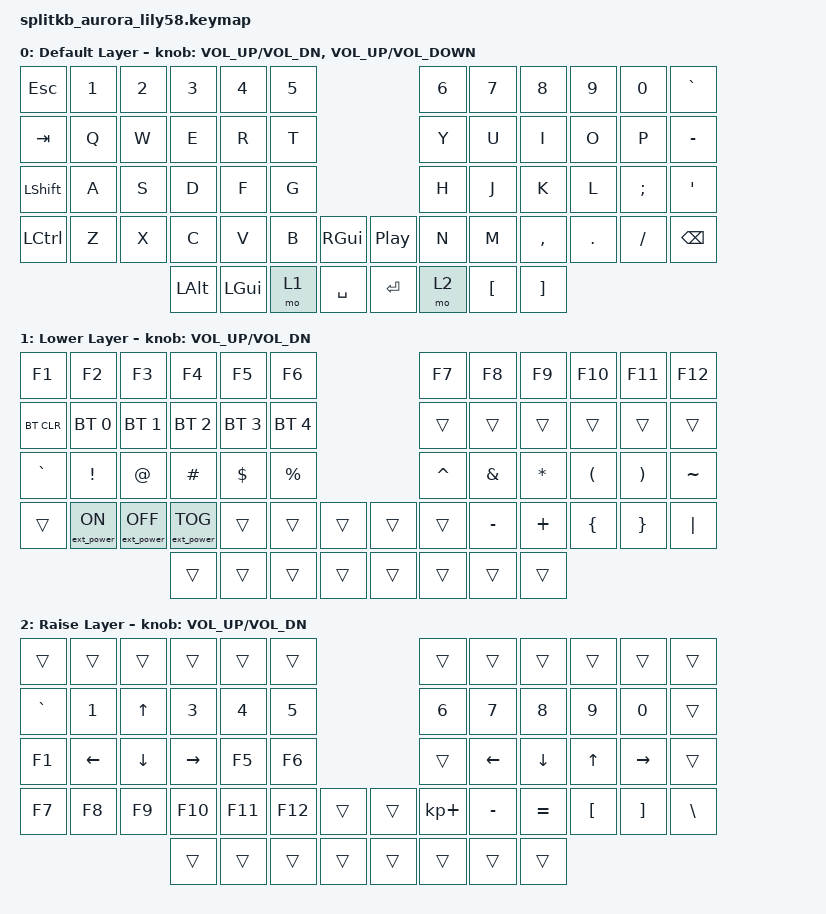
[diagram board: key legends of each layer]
/*
 * Copyright (c) 2022 The ZMK Contributors
 *
 * SPDX-License-Identifier: MIT
 */

#include <behaviors.dtsi>
#include <dt-bindings/zmk/bt.h>
#include <dt-bindings/zmk/ext_power.h>
#include <dt-bindings/zmk/keys.h>

/ {
    keymap {
        compatible = "zmk,keymap";

        default_layer {
            display-name = "Default Layer";

            // ------------------------------------------------------------------------------------------------------------
            // |  ESC  |  1  |  2  |  3   |  4   |  5   |                   |  6   |  7    |  8    |  9   |   0   |   `   |
            // |  TAB  |  Q  |  W  |  E   |  R   |  T   |                   |  Y   |  U    |  I    |  O   |   P   |   -   |
            // |  SHIFT |  A  |  S  |  D   |  F   |  G   |                   |  H   |  J    |  K    |  L   |   ;   |   '   |
            // | CTRL |  Z  |  X  |  C   |  V   |  B   |   GUI |  |  "]"  |  N   |  M    |  ,    |  .   |   /   | BSPC |
            //                     | ALT  | GUI  | LOWER|  SPACE |  | ENTER | RAISE| "["  | "]"  |

            bindings = <
&kp ESC    &kp N1  &kp N2  &kp N3    &kp N4    &kp N5                                     &kp N6  &kp N7            &kp N8             &kp N9   &kp N0    &kp GRAVE
&kp TAB    &kp Q   &kp W   &kp E     &kp R     &kp T                                      &kp Y   &kp U             &kp I              &kp O    &kp P     &kp MINUS
&kp LSHFT  &kp A   &kp S   &kp D     &kp F     &kp G                                      &kp H   &kp J             &kp K              &kp L    &kp SEMI  &kp SQT
&kp LCTRL  &kp Z   &kp X   &kp C     &kp V     &kp B   &kp RIGHT_GUI    &kp C_PLAY_PAUSE  &kp N   &kp M             &kp COMMA          &kp DOT  &kp FSLH  &kp BSPC
                           &kp LALT  &kp LGUI  &mo 1   &kp SPACE        &kp RET           &mo 2   &kp LEFT_BRACKET  &kp RIGHT_BRACKET
            >;

            sensor-bindings =
                <&inc_dec_kp C_VOL_UP C_VOL_DN>,
                <&inc_dec_kp C_VOLUME_UP C_VOLUME_DOWN>;
        };

        lower_layer {
            display-name = "Lower Layer";

            // ------------------------------------------------------------------------------------------------------------
            // | BTCLR | BT1 | BT2 |  BT3 |  BT4 |  BT5 |                   |      |       |       |      |       |       |
            // |  F1   |  F2 |  F3 |  F4  |  F5  |  F6  |                   |  F7  |  F8   |  F9   |  F10 |  F11  |  F12  |
            // |   `   |  !  |  @  |  #   |  $   |  %   |                   |  ^   |  &    |  *    |  (   |   )   |   ~   |
            // |       |     |     |      |      |      |        |  |       |      |  _    |  +    |  {   |   }   |  "|"  |
            //                     |      |      |      |        |  |       |      |       |       |

            bindings = <
&kp F1      &kp F2            &kp F3             &kp F4             &kp F5        &kp F6                          &kp F7     &kp F8     &kp F9    &kp F10   &kp F11   &kp F12
&bt BT_CLR  &bt BT_SEL 0      &bt BT_SEL 1       &bt BT_SEL 2       &bt BT_SEL 3  &bt BT_SEL 4                    &trans     &trans     &trans    &trans    &trans    &trans
&kp GRAVE   &kp EXCL          &kp AT             &kp HASH           &kp DOLLAR    &kp PRCNT                       &kp CARET  &kp AMPS   &kp STAR  &kp LPAR  &kp RPAR  &kp TILDE
&trans      &ext_power EP_ON  &ext_power EP_OFF  &ext_power EP_TOG  &trans        &trans        &trans    &trans  &trans     &kp MINUS  &kp PLUS  &kp LBRC  &kp RBRC  &kp PIPE
                                                 &trans             &trans        &trans        &trans    &trans  &trans     &trans     &trans
            >;

            sensor-bindings = <&inc_dec_kp C_VOL_UP C_VOL_DN>;
        };

        raise_layer {
            display-name = "Raise Layer";

            // ------------------------------------------------------------------------------------------------------------
            // |       |     |     |      |      |      |                   |      |       |       |      |       |       |
            // |   `   |  1  |  2  |  3   |  4   |  5   |                   |  6   |   7   |   8   |  9   |   0   |       |
            // |   F1  |  F2 |  F3 |  F4  |  F5  |  F6  |                   |      |   <-  |   v   |  ^   |  ->   |       |
            // |   F7  |  F8 |  F9 |  F10 |  F11 |  F12 |        |  |       |  +   |   -   |   =   |  [   |   ]   |   \   |
            //                     |      |      |      |        |  |       |      |       |       |

            bindings = <
&trans     &trans          &trans          &trans           &trans   &trans                     &trans       &trans     &trans     &trans    &trans     &trans
&kp GRAVE  &kp N1          &kp UP_ARROW    &kp N3           &kp N4   &kp N5                     &kp N6       &kp N7     &kp N8     &kp N9    &kp N0     &trans
&kp F1     &kp LEFT_ARROW  &kp DOWN_ARROW  &kp RIGHT_ARROW  &kp F5   &kp F6                     &trans       &kp LEFT   &kp DOWN   &kp UP    &kp RIGHT  &trans
&kp F7     &kp F8          &kp F9          &kp F10          &kp F11  &kp F12  &trans    &trans  &kp KP_PLUS  &kp MINUS  &kp EQUAL  &kp LBKT  &kp RBKT   &kp BSLH
                                           &trans           &trans   &trans   &trans    &trans  &trans       &trans     &trans
            >;

            sensor-bindings = <&inc_dec_kp C_VOL_UP C_VOL_DN>;
        };
    };
};
